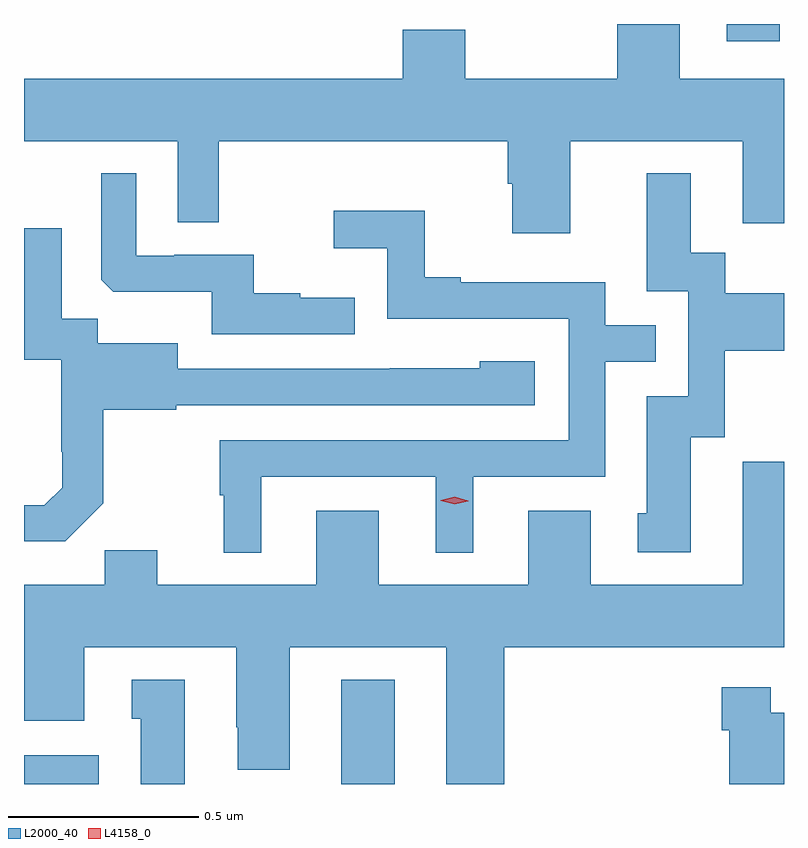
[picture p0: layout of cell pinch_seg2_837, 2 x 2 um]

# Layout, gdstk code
import gdstk
lib = gdstk.Library(unit=1e-6, precision=1e-09)
def R(c, l, rs):  # rectangles x0, y0, x1, y1
    for r in rs: c.add(gdstk.rectangle(r[:2], r[2:], *l))
def P(c, l, *ps):  # polygons
    for p in ps: c.add(gdstk.Polygon(p, *l))
L2000_40 = (2000, 40)
L4158_0 = (4158, 0)

pinch_seg2_837 = lib.new_cell('pinch_seg2_837')
R(pinch_seg2_837, L2000_40, [(661.054,612.644,661.251,612.72), (661.889,612.644,662.029,612.919), (662.903,614.598,663.043,614.644)])
P(pinch_seg2_837, L2000_40, [(662.491,614.336),(662.945,614.336),(662.945,614.12),(663.054,614.12),(663.054,614.5),(662.779,614.5),(662.779,614.644),(662.615,614.644),(662.615,614.5),(662.215,614.5),(662.215,614.629),(662.051,614.629),(662.051,614.5),(661.054,614.5),(661.054,614.336),(661.458,614.336),(661.458,614.122),(661.567,614.122),(661.567,614.336),(662.327,614.336),(662.327,614.223),(662.339,614.223),(662.339,614.094),(662.491,614.094)],
  [(662.809,613.557),(662.898,613.557),(662.898,613.784),(663.054,613.784),(663.054,613.936),(662.899,613.936),(662.899,614.042),(662.809,614.042),(662.809,614.251),(662.693,614.251),(662.693,613.941),(662.802,613.941),(662.802,613.665),(662.693,613.665),(662.693,613.356),(662.669,613.356),(662.669,613.254),(662.809,613.254)],
  [(661.925,613.924),(661.781,613.924),(661.781,613.936),(661.658,613.936),(661.658,614.037),(661.45,614.037),(661.45,614.034),(661.35,614.034),(661.35,614.251),(661.257,614.251),(661.257,613.971),(661.289,613.94),(661.548,613.94),(661.548,613.827),(661.925,613.827)],
  [(661.678,613.452),(662.138,613.452),(662.138,613.253),(662.236,613.253),(662.236,613.452),(662.583,613.452),(662.583,613.755),(662.717,613.755),(662.717,613.851),(662.583,613.851),(662.583,613.965),(662.203,613.965),(662.203,613.978),(662.109,613.978),(662.109,614.153),(661.869,614.153),(661.869,614.054),(662.01,614.054),(662.01,613.869),(662.487,613.869),(662.487,613.548),(661.569,613.548),(661.569,613.404),(661.58,613.404),(661.58,613.253),(661.678,613.253)],
  [(661.263,613.383),(661.263,613.629),(661.455,613.629),(661.455,613.641),(662.398,613.641),(662.398,613.756),(662.253,613.756),(662.253,613.738),(662.017,613.738),(662.017,613.737),(661.459,613.737),(661.459,613.804),(661.248,613.804),(661.248,613.868),(661.153,613.868),(661.153,614.107),(661.054,614.107),(661.054,613.76),(661.152,613.76),(661.152,613.519),(661.154,613.519),(661.154,613.424),(661.107,613.377),(661.054,613.377),(661.054,613.283),(661.163,613.283)],
  [(661.823,613.363),(661.823,613.168),(661.405,613.168),(661.405,613.259),(661.267,613.259),(661.267,613.168),(661.054,613.168),(661.054,612.81),(661.213,612.81),(661.213,613.004),(661.613,613.004),(661.613,612.793),(661.616,612.793),(661.616,612.681),(661.753,612.681),(661.753,613.004),(662.165,613.004),(662.165,612.644),(662.318,612.644),(662.318,613.004),(663.054,613.004),(663.054,613.492),(662.946,613.492),(662.946,613.379),(662.945,613.379),(662.945,613.168),(662.545,613.168),(662.545,613.363),(662.381,613.363),(662.381,613.168),(661.987,613.168),(661.987,613.363)],
  [(661.477,612.919),(661.337,612.919),(661.337,612.816),(661.361,612.816),(661.361,612.644),(661.477,612.644)],
  [(663.054,612.832),(663.019,612.832),(663.019,612.898),(662.89,612.898),(662.89,612.785),(662.91,612.785),(662.91,612.644),(663.054,612.644)])
P(pinch_seg2_837, L4158_0, [(662.187,613.38),(662.151,613.39),(662.151,613.391),(662.151,613.391),(662.187,613.4),(662.223,613.389),(662.223,613.388),(662.223,613.388)])

lib.write_gds('pinch_seg2_837.gds')
